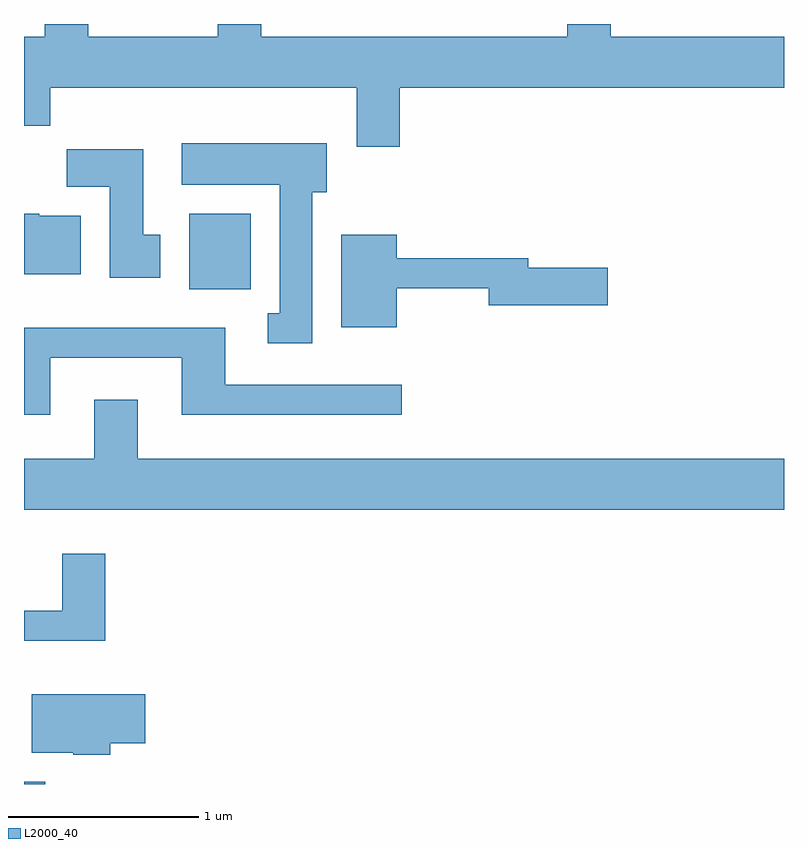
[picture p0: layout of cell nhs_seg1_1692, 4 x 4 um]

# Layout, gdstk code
import gdstk
lib = gdstk.Library(unit=1e-6, precision=1e-09)
def R(c, l, rs):  # rectangles x0, y0, x1, y1
    for r in rs: c.add(gdstk.rectangle(r[:2], r[2:], *l))
def P(c, l, *ps):  # polygons
    for p in ps: c.add(gdstk.Polygon(p, *l))
L2000_40 = (2000, 40)

nhs_seg1_1692 = lib.new_cell('nhs_seg1_1692')
R(nhs_seg1_1692, L2000_40, [(237.611,873.712,237.724,873.724), (238.481,876.316,238.804,876.714)])
P(nhs_seg1_1692, L2000_40, [(239.589,877.376),(241.611,877.376),(241.611,877.644),(240.699,877.644),(240.699,877.712),(240.471,877.712),(240.471,877.644),(238.859,877.644),(238.859,877.712),(238.631,877.712),(238.631,877.644),(237.949,877.644),(237.949,877.712),(237.721,877.712),(237.721,877.644),(237.611,877.644),(237.611,877.176),(237.749,877.176),(237.749,877.376),(239.361,877.376),(239.361,877.066),(239.589,877.066)],
  [(239.129,876.826),(239.204,876.826),(239.204,877.084),(238.441,877.084),(238.441,876.866),(238.956,876.866),(238.956,876.189),(238.893,876.189),(238.893,876.031),(239.129,876.031)],
  [(238.329,876.604),(238.239,876.604),(238.239,877.054),(237.836,877.054),(237.836,876.856),(238.061,876.856),(238.061,876.376),(238.329,876.376)],
  [(237.909,876.704),(237.69,876.704),(237.69,876.714),(237.611,876.714),(237.611,876.396),(237.909,876.396)],
  [(239.574,876.321),(240.056,876.321),(240.056,876.231),(240.684,876.231),(240.684,876.429),(240.264,876.429),(240.264,876.479),(239.574,876.479),(239.574,876.604),(239.281,876.604),(239.281,876.116),(239.574,876.116)],
  [(237.749,875.956),(238.441,875.956),(238.441,875.656),(239.598,875.656),(239.598,875.814),(238.669,875.814),(238.669,876.114),(237.611,876.114),(237.611,875.656),(237.749,875.656)],
  [(241.611,875.424),(238.209,875.424),(238.209,875.734),(237.981,875.734),(237.981,875.424),(237.611,875.424),(237.611,875.156),(241.611,875.156)],
  [(238.039,874.924),(237.811,874.924),(237.811,874.624),(237.611,874.624),(237.611,874.466),(238.039,874.466)],
  [(238.064,873.926),(238.249,873.926),(238.249,874.184),(237.651,874.184),(237.651,873.876),(237.87,873.876),(237.87,873.866),(238.064,873.866)])

lib.write_gds('nhs_seg1_1692.gds')
